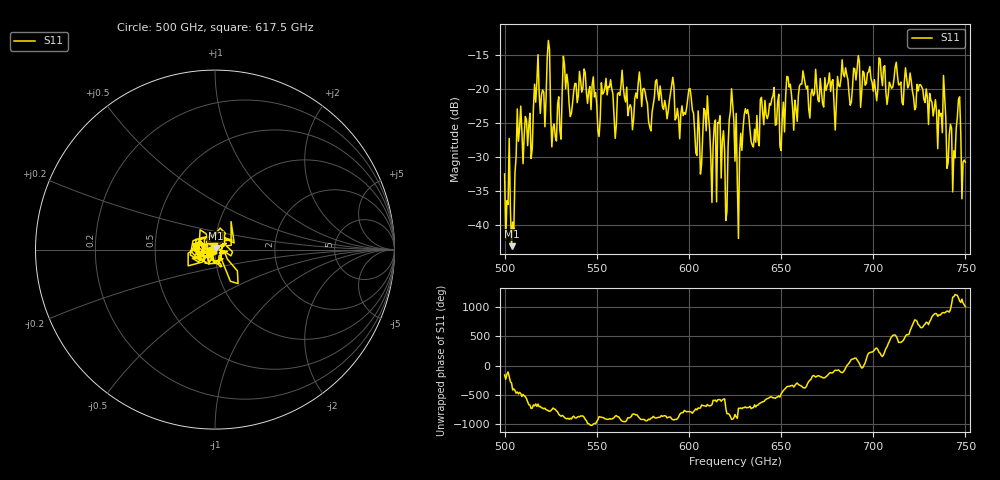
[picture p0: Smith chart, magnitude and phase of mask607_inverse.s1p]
!Created with skrf (http://scikit-rf.org).
# GHz S MA R 50.0
!freq magS11 angS11
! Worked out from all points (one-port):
!   401 points, 500 GHz to 750 GHz, reference 50 ohm
!   lowest |S11| = -43.2 dB at 503.8 GHz (marker M1), VSWR 1.01, Z = 50.3 + j0.626 ohm
!   |S11| at or under -10 dB: start of sweep to end of sweep
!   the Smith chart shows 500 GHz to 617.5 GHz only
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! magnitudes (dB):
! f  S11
! 500 GHz  -32.5
! 503.8 GHz  -43.2
! 507.5 GHz  -27.7
! 513.8 GHz  -23.6
! 517.5 GHz  -18.9
! 523.8 GHz  -12.8
! 526.9 GHz  -25.1
! 531.2 GHz  -20.3
! 562.5 GHz  -20.9
! 579.4 GHz  -26.2
! 590.6 GHz  -19.5
! 593.8 GHz  -22.8
! 600.6 GHz  -19.9
! 605.6 GHz  -26.0
! 609.4 GHz  -26.1
! 620 GHz  -39.4
! 623.1 GHz  -19.9
! 625 GHz  -30.6
! 627.5 GHz  -29.4
! 631.2 GHz  -23.6
! 635 GHz  -28.5
! 656.2 GHz  -22.8
! 687.5 GHz  -22.4
! 718.8 GHz  -19.8
! 738.1 GHz  -18.0
! 743.8 GHz  -29.1
! 746.2 GHz  -21.5
! 750 GHz  -30.8
